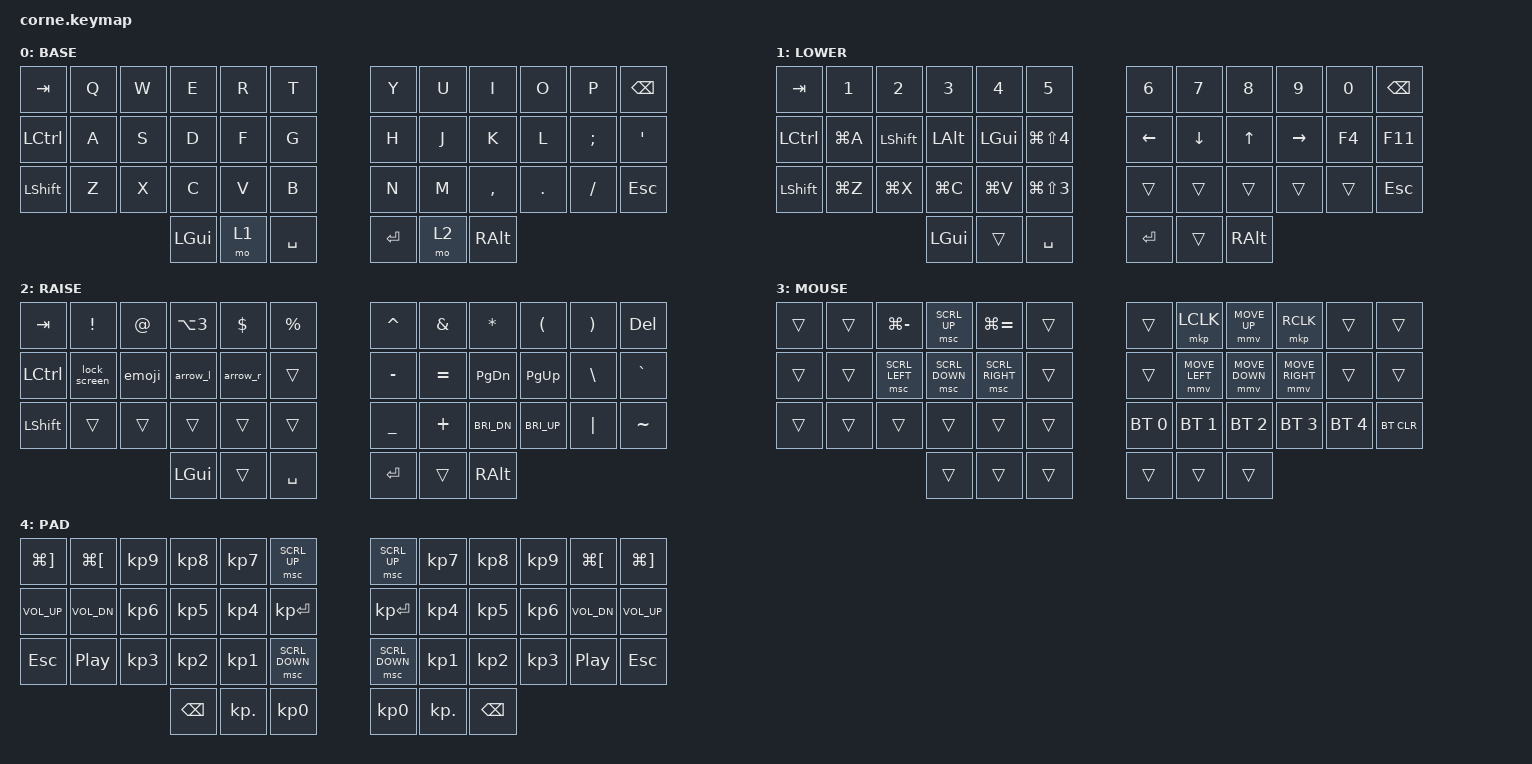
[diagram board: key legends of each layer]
/*
 * Copyright (c) 2020 The ZMK Contributors
 *
 * SPDX-License-Identifier: MIT
 */

#include <behaviors.dtsi>
#include <dt-bindings/zmk/keys.h>
#include <dt-bindings/zmk/bt.h>
#define ZMK_POINTING_DEFAULT_MOVE_VAL 1500 // default: 600
#include <dt-bindings/zmk/pointing.h>

#define BASE  0
#define LOWER 1
#define RAISE 2
#define MOUSE 3
#define PAD   4

/ {
        macros {
                arrow_r: arrow_r {
                        compatible = "zmk,behavior-macro";
                        #binding-cells = <0>;
                        bindings = <&kp MINUS &kp GT>;
                };
                arrow_l: arrow_l {
                        compatible = "zmk,behavior-macro";
                        #binding-cells = <0>;
                        bindings = <&kp LT &kp MINUS>;
                };
                lock_screen: lock_screen {
                        compatible = "zmk,behavior-macro";
                        #binding-cells = <0>;
                        bindings = <&kp LG(LC(Q))>;
                };
                emoji: emoji {
                        compatible = "zmk,behavior-macro";
                        #binding-cells = <0>;
                        bindings = <&kp LC(LG(SPACE))>;
                };
        };

        combos {
                compatible = "zmk,combos";

                // Paired symbols via adjacent key combos (default layer only)
                combo_lpar {
                        timeout-ms = <40>;
                        layers = <0>;
                        key-positions = <3 4>;   // E + R
                        bindings = <&kp LPAR>;
                };
                combo_rpar {
                        timeout-ms = <40>;
                        layers = <0>;
                        key-positions = <7 8>;   // U + I
                        bindings = <&kp RPAR>;
                };
                combo_lbkt {
                        timeout-ms = <40>;
                        layers = <0>;
                        key-positions = <15 16>; // D + F
                        bindings = <&kp LBKT>;
                };
                combo_rbkt {
                        timeout-ms = <40>;
                        layers = <0>;
                        key-positions = <19 20>; // J + K
                        bindings = <&kp RBKT>;
                };
                combo_lbrc {
                        timeout-ms = <40>;
                        layers = <0>;
                        key-positions = <27 28>; // C + V
                        bindings = <&kp LBRC>;
                };
                combo_rbrc {
                        timeout-ms = <40>;
                        layers = <0>;
                        key-positions = <31 32>; // M + ,
                        bindings = <&kp RBRC>;
                };
                combo_caps_word {
                        timeout-ms = <50>;
                        layers = <0>;
                        key-positions = <17 18>; // G + H
                        bindings = <&caps_word>;
                };
                combo_caps_lock {
                        timeout-ms = <50>;
                        layers = <0>;
                        key-positions = <5 6>;   // T + Y
                        bindings = <&kp CAPS>;
                };

                // One-hand PAD layer lock: all three thumb keys of either half together.
                // Same gesture unlocks. Three keys (not two) so mashing two thumb keys
                // with one thumb for Cmd+layer+number still works.
                combo_pad_toggle_l {
                        timeout-ms = <80>;
                        require-prior-idle-ms = <150>;
                        layers = <BASE PAD>;
                        key-positions = <36 37 38>; // left thumbs
                        bindings = <&tog PAD>;
                };
                combo_pad_toggle_r {
                        timeout-ms = <80>;
                        require-prior-idle-ms = <150>;
                        layers = <BASE PAD>;
                        key-positions = <39 40 41>; // right thumbs
                        bindings = <&tog PAD>;
                };

                // Mirror-key media combos. 50 ms window (was 80) so fast cross-hand rolls
                // like "ls" type letters; idle guard keeps them from firing mid-word.
                combo_vol_up {
                        timeout-ms = <50>;
                        require-prior-idle-ms = <150>;
                        layers = <0>;
                        key-positions = <13 22>; // A + ;
                        bindings = <&kp C_VOL_UP>;
                };
                combo_vol_dn {
                        timeout-ms = <50>;
                        require-prior-idle-ms = <150>;
                        layers = <0>;
                        key-positions = <14 21>; // S + L
                        bindings = <&kp C_VOL_DN>;
                };
                combo_mute {
                        timeout-ms = <50>;
                        require-prior-idle-ms = <150>;
                        layers = <0>;
                        key-positions = <15 20>; // D + K
                        bindings = <&kp C_MUTE>;
                };
                combo_play_pause {
                        timeout-ms = <50>;
                        require-prior-idle-ms = <150>;
                        layers = <0>;
                        key-positions = <16 19>; // F + J
                        bindings = <&kp C_PP>;
                };
                combo_next {
                        timeout-ms = <50>;
                        require-prior-idle-ms = <150>;
                        layers = <0>;
                        key-positions = <4 7>;   // R + U
                        bindings = <&kp C_NEXT>;
                };
                combo_prev {
                        timeout-ms = <50>;
                        require-prior-idle-ms = <150>;
                        layers = <0>;
                        key-positions = <28 31>; // V + M
                        bindings = <&kp C_PREV>;
                };
        };

        // Layer 3 activates when both lower (1) and raise (2) are held
        conditional_layers {
                compatible = "zmk,conditional-layers";
                mouse_layer {
                        if-layers = <LOWER RAISE>;
                        then-layer = <MOUSE>;
                };
        };

        keymap {
                compatible = "zmk,keymap";

                default_layer {
                        display-name = "BASE";
// -----------------------------------------------------------------------------------------
// |  TAB |  Q  |  W  |  E  |  R  |  T  |   |  Y  |  U   |  I  |  O  |  P  | BSPC |
// | CTRL |  A  |  S  |  D  |  F  |  G  |   |  H  |  J   |  K  |  L  |  ;  |  '   |
// | SHFT |  Z  |  X  |  C  |  V  |  B  |   |  N  |  M   |  ,  |  .  |  /  | ESC  |
//                    | GUI | LWR | SPC |   | ENT | RSE  | ALT |
                        bindings = <
   &kp TAB   &kp Q &kp W &kp E &kp R &kp T   &kp Y &kp U  &kp I     &kp O   &kp P    &kp BSPC
   &kp LCTRL &kp A &kp S &kp D &kp F &kp G   &kp H &kp J  &kp K     &kp L   &kp SEMI &kp SQT
   &kp LSHFT &kp Z &kp X &kp C &kp V &kp B   &kp N &kp M  &kp COMMA &kp DOT &kp FSLH &kp ESC
                  &kp LGUI &mo 1 &kp SPACE   &kp RET &mo 2 &kp RALT
                        >;
                };

                lower_layer {
                        display-name = "LOWER";
// -----------------------------------------------------------------------------------------
// |  TAB |  1  |  2  |  3  |  4  |  5  |   |  6  |  7  |  8  |  9  |  0  | BSPC |
// | CTRL |SELA | SHFT| ALT | GUI | SS▢ |   | LFT | DWN |  UP | RGT |  F4 | F11  |
// | SHFT |UNDO | CUT |COPY |PASTE| SS▣ |   |     |     |     |     |     | ESC  |
//                    | GUI |     | SPC |   | ENT |     | ALT |
                        bindings = <
   &kp TAB    &kp N1     &kp N2    &kp N3   &kp N4   &kp N5         &kp N6   &kp N7   &kp N8   &kp N9    &kp N0  &kp BSPC
   &kp LCTRL  &kp LG(A)  &kp LSHFT &kp LALT &kp LGUI &kp LG(LS(N4)) &kp LEFT &kp DOWN &kp UP   &kp RIGHT &kp F4  &kp F11
   &kp LSHFT  &kp LG(Z)  &kp LG(X) &kp LG(C) &kp LG(V) &kp LG(LS(N3)) &trans  &trans   &trans   &trans    &trans  &kp ESC
                                    &kp LGUI     &trans       &kp SPACE      &kp RET  &trans   &kp RALT
                        >;
                };

                raise_layer {
                        display-name = "RAISE";
// -----------------------------------------------------------------------------------------
// |  TAB |  !  |  @  |  #  |  $  |  %  |   |  ^  |  &  |  *  |  (  |  )  | DEL  |
// | CTRL | LCK | EMJ |  <- |  -> |     |   |  -  |  =  |PGDN |PGUP |  \  |  `   |
// | SHFT |     |     |     |     |     |   |  _  |  +  |BRID |BRIU | "|" |  ~   |
//                    | GUI |     | SPC |   | ENT |     | ALT |
                        bindings = <
   &kp TAB   &kp EXCL     &kp AT &kp LA(N3) &kp DLLR &kp PRCNT   &kp CARET &kp AMPS  &kp ASTRK    &kp LPAR     &kp RPAR &kp DEL
   &kp LCTRL &lock_screen &emoji &arrow_l   &arrow_r &trans      &kp MINUS &kp EQUAL &kp PG_DN    &kp PG_UP    &kp BSLH &kp GRAVE
   &kp LSHFT &trans       &trans &trans     &trans   &trans      &kp UNDER &kp PLUS  &kp C_BRI_DN &kp C_BRI_UP &kp PIPE &kp TILDE
                             &kp LGUI &trans   &kp SPACE   &kp RET   &trans    &kp RALT
                        >;
                };

                mouse_layer {
                        display-name = "MOUSE";
// -----------------------------------------------------------------------------------------
// |      |     | ZM- |SC_U | ZM+ |     |   |     |LCLK | M_U |RCLK |     |      |
// |      |     |SC_L |SC_D |SC_R |     |   |     | M_L | M_D | M_R |     |      |
// |      |     |     |     |     |     |   | BT1 | BT2 | BT3 | BT4 | BT5 |BTCLR |
//                    |     |     |     |   |     |     |     |
                        bindings = <
   &trans &trans &kp LG(MINUS)  &msc SCRL_UP   &kp LG(EQUAL)   &trans  &trans       &mkp LCLK      &mmv MOVE_UP   &mkp RCLK       &trans       &trans
   &trans &trans &msc SCRL_LEFT &msc SCRL_DOWN &msc SCRL_RIGHT &trans  &trans       &mmv MOVE_LEFT &mmv MOVE_DOWN &mmv MOVE_RIGHT &trans       &trans
   &trans &trans &trans         &trans         &trans          &trans  &bt BT_SEL 0 &bt BT_SEL 1   &bt BT_SEL 2   &bt BT_SEL 3    &bt BT_SEL 4 &bt BT_CLR
                                         &trans &trans &trans     &trans &trans &trans
                        >;
                };

                pad_layer {
                        display-name = "PAD";
// Locked one-hand layer; each half is complete on its own, so either hand can run it.
// The left half is an exact mirror image of the right: every finger does the same
// job on both hands. The right half is the reference (standard numpad fingering:
// index 7/4/1, middle 8/5/2, ring 9/6/3).
// Digits are real keypad codes (also drive Blender numpad views).
// BACK/FWD = Cmd+[ / Cmd+]. Scroll keys repeat while held.
// Lock/unlock: all three thumb keys of either half together.
// -----------------------------------------------------------------------------------------
// | FWD  |BACK |  9  |  8  |  7  |SC_U |   |SC_U |  7  |  8  |  9  |BACK | FWD  |
// | VOL+ |VOL- |  6  |  5  |  4  | ENT |   | ENT |  4  |  5  |  6  |VOL- | VOL+ |
// | ESC  |PLAY |  3  |  2  |  1  |SC_D |   |SC_D |  1  |  2  |  3  |PLAY | ESC  |
//                    |BSPC |  .  |  0  |   |  0  |  .  |BSPC |
                        bindings = <
   &kp LG(RBKT) &kp LG(LBKT) &kp KP_N9 &kp KP_N8 &kp KP_N7 &msc SCRL_UP     &msc SCRL_UP   &kp KP_N7 &kp KP_N8 &kp KP_N9 &kp LG(LBKT) &kp LG(RBKT)
   &kp C_VOL_UP &kp C_VOL_DN &kp KP_N6 &kp KP_N5 &kp KP_N4 &kp KP_ENTER     &kp KP_ENTER   &kp KP_N4 &kp KP_N5 &kp KP_N6 &kp C_VOL_DN &kp C_VOL_UP
   &kp ESC      &kp C_PP     &kp KP_N3 &kp KP_N2 &kp KP_N1 &msc SCRL_DOWN   &msc SCRL_DOWN &kp KP_N1 &kp KP_N2 &kp KP_N3 &kp C_PP     &kp ESC
                                  &kp BSPC &kp KP_DOT &kp KP_N0   &kp KP_N0 &kp KP_DOT &kp BSPC
                        >;
                };
        };
};
